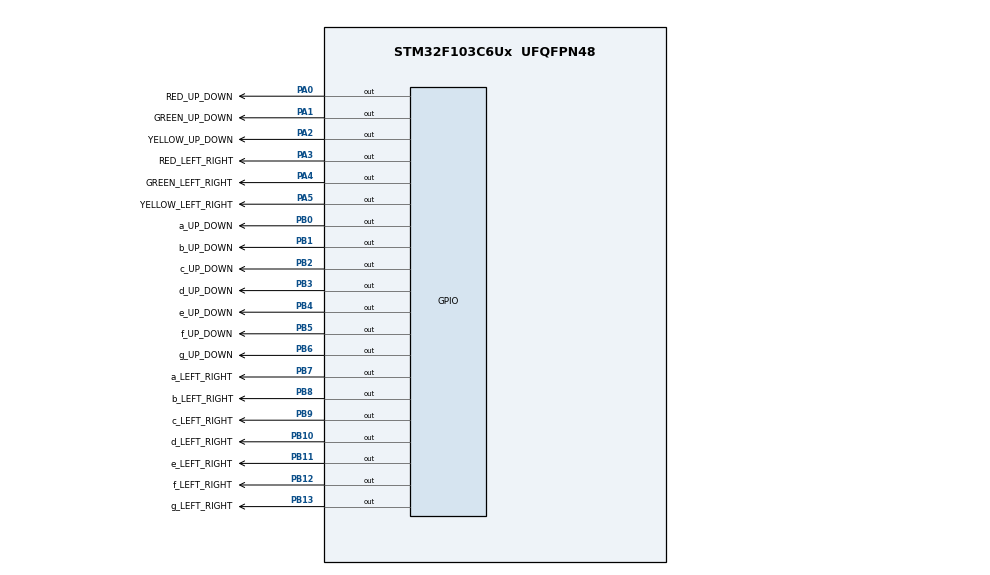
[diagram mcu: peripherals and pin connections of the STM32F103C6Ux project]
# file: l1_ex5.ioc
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Mcu.Family=STM32F1
Mcu.Name=STM32F103C6Ux
Mcu.Package=UFQFPN48
NVIC.PriorityGroup=NVIC_PRIORITYGROUP_4
PA0-WKUP.GPIO_Label=RED_UP_DOWN
PA0-WKUP.PinState=GPIO_PIN_SET
PA0-WKUP.Signal=GPIO_Output
PA1.GPIO_Label=GREEN_UP_DOWN
PA1.PinState=GPIO_PIN_RESET
PA1.Signal=GPIO_Output
PA2.GPIO_Label=YELLOW_UP_DOWN
PA2.PinState=GPIO_PIN_RESET
PA2.Signal=GPIO_Output
PA3.GPIO_Label=RED_LEFT_RIGHT
PA3.PinState=GPIO_PIN_RESET
PA3.Signal=GPIO_Output
PA4.GPIO_Label=GREEN_LEFT_RIGHT
PA4.PinState=GPIO_PIN_SET
PA4.Signal=GPIO_Output
PA5.GPIO_Label=YELLOW_LEFT_RIGHT
PA5.PinState=GPIO_PIN_RESET
PA5.Signal=GPIO_Output
PB0.GPIO_Label=a_UP_DOWN
PB0.PinState=GPIO_PIN_SET
PB0.Signal=GPIO_Output
PB1.GPIO_Label=b_UP_DOWN
PB1.PinState=GPIO_PIN_SET
PB1.Signal=GPIO_Output
PB10.GPIO_Label=d_LEFT_RIGHT
PB10.PinState=GPIO_PIN_SET
PB10.Signal=GPIO_Output
PB11.GPIO_Label=e_LEFT_RIGHT
PB11.PinState=GPIO_PIN_SET
PB11.Signal=GPIO_Output
PB12.GPIO_Label=f_LEFT_RIGHT
PB12.PinState=GPIO_PIN_SET
PB12.Signal=GPIO_Output
PB13.GPIO_Label=g_LEFT_RIGHT
PB13.PinState=GPIO_PIN_SET
PB13.Signal=GPIO_Output
PB2.GPIO_Label=c_UP_DOWN
PB2.PinState=GPIO_PIN_SET
PB2.Signal=GPIO_Output
PB3.GPIO_Label=d_UP_DOWN
PB3.PinState=GPIO_PIN_SET
PB3.Signal=GPIO_Output
PB4.GPIO_Label=e_UP_DOWN
PB4.PinState=GPIO_PIN_SET
PB4.Signal=GPIO_Output
PB5.GPIO_Label=f_UP_DOWN
PB5.PinState=GPIO_PIN_SET
PB5.Signal=GPIO_Output
PB6.GPIO_Label=g_UP_DOWN
PB6.PinState=GPIO_PIN_SET
PB6.Signal=GPIO_Output
PB7.GPIO_Label=a_LEFT_RIGHT
PB7.PinState=GPIO_PIN_SET
PB7.Signal=GPIO_Output
PB8.GPIO_Label=b_LEFT_RIGHT
PB8.PinState=GPIO_PIN_SET
PB8.Signal=GPIO_Output
PB9.GPIO_Label=c_LEFT_RIGHT
PB9.PinState=GPIO_PIN_SET
PB9.Signal=GPIO_Output
ProjectManager.HeapSize=0x200
ProjectManager.StackSize=0x400
ProjectManager.TargetToolchain=STM32CubeIDE
RCC.APB1Freq_Value=8000000
RCC.APB2Freq_Value=8000000
VP_SYS_VS_ND.Mode=No_Debug
board=custom

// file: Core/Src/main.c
/* USER CODE BEGIN Header */
/**
  ******************************************************************************
  * @file           : main.c
  * @brief          : Main program body
  ******************************************************************************
  * @attention
  *
  * <h2><center>&copy; Copyright (c) 2025 STMicroelectronics.
  * All rights reserved.</center></h2>
  *
  * This software component is licensed by ST under BSD 3-Clause license,
  * the "License"; You may not use this file except in compliance with the
  * License. You may obtain a copy of the License at:
  *                        opensource.org/licenses/BSD-3-Clause
  *
  ******************************************************************************
  */
/* USER CODE END Header */
#include "main.h"

void SystemClock_Config(void);
static void MX_GPIO_Init(void);

int main(void)
{

  /* MCU Configuration--------------------------------------------------------*/

  /* Reset of all peripherals, Initializes the Flash interface and the Systick. */
  HAL_Init();

  /* Configure the system clock */
  SystemClock_Config();

  /* Initialize all configured peripherals */
  MX_GPIO_Init();

  /* Infinite loop */
  /* USER CODE BEGIN WHILE */

  // RED 6s -> GREEN 4s -> YELLOW 2s
  // ALL PINs IS ACTIVE HIGH
  // UP and DOWN RED first
  GPIO_TypeDef* SEG_up_down[7] = {a_UP_DOWN_GPIO_Port,b_UP_DOWN_GPIO_Port,c_UP_DOWN_GPIO_Port,
		  d_UP_DOWN_GPIO_Port,e_UP_DOWN_GPIO_Port,
		  f_UP_DOWN_GPIO_Port,g_UP_DOWN_GPIO_Port};
  GPIO_TypeDef* SEG_left_right[7] = {a_LEFT_RIGHT_GPIO_Port,b_LEFT_RIGHT_GPIO_Port,
		  c_LEFT_RIGHT_GPIO_Port,d_LEFT_RIGHT_GPIO_Port
		  ,e_LEFT_RIGHT_GPIO_Port,f_LEFT_RIGHT_GPIO_Port,g_LEFT_RIGHT_GPIO_Port};

  int SEG_up_down_pin[7] = {a_UP_DOWN_Pin,b_UP_DOWN_Pin,c_UP_DOWN_Pin,
		  d_UP_DOWN_Pin,e_UP_DOWN_Pin,
		  f_UP_DOWN_Pin,g_UP_DOWN_Pin};
  int SEG_left_right_pin[7] = {a_LEFT_RIGHT_Pin,b_LEFT_RIGHT_Pin,
		  c_LEFT_RIGHT_Pin,d_LEFT_RIGHT_Pin
		  ,e_LEFT_RIGHT_Pin,f_LEFT_RIGHT_Pin,g_LEFT_RIGHT_Pin};

  void display7SEG(int counter, GPIO_TypeDef* pin[7], int p[7])
  {
	  switch (counter){
	  case 0:
		  HAL_GPIO_WritePin(pin[0], p[0], RESET);
		  HAL_GPIO_WritePin(pin[1], p[1], RESET);
		  HAL_GPIO_WritePin(pin[2], p[2], RESET);
		  HAL_GPIO_WritePin(pin[3], p[3], RESET);
		  HAL_GPIO_WritePin(pin[4], p[4], RESET);
		  HAL_GPIO_WritePin(pin[5], p[5], RESET);
		  HAL_GPIO_WritePin(pin[6], p[6], SET);
		  break;
	  case 1:
		  HAL_GPIO_WritePin(pin[0], p[0], SET);
		  HAL_GPIO_WritePin(pin[1], p[1], RESET);
		  HAL_GPIO_WritePin(pin[2], p[2], RESET);
		  HAL_GPIO_WritePin(pin[3], p[3], SET);
		  HAL_GPIO_WritePin(pin[4], p[4], SET);
		  HAL_GPIO_WritePin(pin[5], p[5], SET);
		  HAL_GPIO_WritePin(pin[6], p[6], SET);
		  break;
	  case 2:
		  HAL_GPIO_WritePin(pin[0], p[0], RESET);
		  HAL_GPIO_WritePin(pin[1], p[1], RESET);
		  HAL_GPIO_WritePin(pin[2], p[2], SET);
		  HAL_GPIO_WritePin(pin[3], p[3], RESET);
		  HAL_GPIO_WritePin(pin[4], p[4], RESET);
		  HAL_GPIO_WritePin(pin[5], p[5], SET);
		  HAL_GPIO_WritePin(pin[6], p[6], RESET);
		  break;
	  case 3:
		  HAL_GPIO_WritePin(pin[0], p[0], RESET);
		  HAL_GPIO_WritePin(pin[1], p[1], RESET);
		  HAL_GPIO_WritePin(pin[2], p[2], RESET);
		  HAL_GPIO_WritePin(pin[3], p[3], RESET);
		  HAL_GPIO_WritePin(pin[4], p[4], SET);
		  HAL_GPIO_WritePin(pin[5], p[5], SET);
		  HAL_GPIO_WritePin(pin[6], p[6], RESET);
		  break;
	  case 4:
		  HAL_GPIO_WritePin(pin[0], p[0], SET);
		  HAL_GPIO_WritePin(pin[1], p[1], RESET);
		  HAL_GPIO_WritePin(pin[2], p[2], RESET);
		  HAL_GPIO_WritePin(pin[3], p[3], SET);
		  HAL_GPIO_WritePin(pin[4], p[4], SET);
		  HAL_GPIO_WritePin(pin[5], p[5], RESET);
		  HAL_GPIO_WritePin(pin[6], p[6], RESET);
		  break;
	  case 5:
		  HAL_GPIO_WritePin(pin[0], p[0], RESET);
		  HAL_GPIO_WritePin(pin[1], p[1], SET);
		  HAL_GPIO_WritePin(pin[2], p[2], RESET);
		  HAL_GPIO_WritePin(pin[3], p[3], RESET);
		  HAL_GPIO_WritePin(pin[4], p[4], SET);
		  HAL_GPIO_WritePin(pin[5], p[5], RESET);
		  HAL_GPIO_WritePin(pin[6], p[6], RESET);
		  break;
	  case 6:
		  HAL_GPIO_WritePin(pin[0], p[0], RESET);
		  HAL_GPIO_WritePin(pin[1], p[1], SET);
		  HAL_GPIO_WritePin(pin[2], p[2], RESET);
		  HAL_GPIO_WritePin(pin[3], p[3], RESET);
		  HAL_GPIO_WritePin(pin[4], p[4], RESET);
		  HAL_GPIO_WritePin(pin[5], p[5], RESET);
		  HAL_GPIO_WritePin(pin[6], p[6], RESET);
		  break;
	  case 7:
		  HAL_GPIO_WritePin(pin[0], p[0], RESET);
		  HAL_GPIO_WritePin(pin[1], p[1], RESET);
		  HAL_GPIO_WritePin(pin[2], p[2], RESET);
		  HAL_GPIO_WritePin(pin[3], p[3], SET);
		  HAL_GPIO_WritePin(pin[4], p[4], SET);
		  HAL_GPIO_WritePin(pin[5], p[5], SET);
		  HAL_GPIO_WritePin(pin[6], p[6], SET);
		  break;
	  case 8:
		  HAL_GPIO_WritePin(pin[0], p[0], RESET);
		  HAL_GPIO_WritePin(pin[1], p[1], RESET);
		  HAL_GPIO_WritePin(pin[2], p[2], RESET);
		  HAL_GPIO_WritePin(pin[3], p[3], RESET);
		  HAL_GPIO_WritePin(pin[4], p[4], RESET);
		  HAL_GPIO_WritePin(pin[5], p[5], RESET);
		  HAL_GPIO_WritePin(pin[6], p[6], RESET);
		  break;
	  case 9:
		  HAL_GPIO_WritePin(pin[0], p[0], RESET);
		  HAL_GPIO_WritePin(pin[1], p[1], RESET);
		  HAL_GPIO_WritePin(pin[2], p[2], RESET);
		  HAL_GPIO_WritePin(pin[3], p[3], RESET);
		  HAL_GPIO_WritePin(pin[4], p[4], SET);
		  HAL_GPIO_WritePin(pin[5], p[5], RESET);
		  HAL_GPIO_WritePin(pin[6], p[6], RESET);
		  break;
	  }
  }

  int ctime = 1200;
  int c_up_down = 6;
  int c_left_right = 4;

  while (1)
  {
	  if(ctime == 800)
	  {
		  HAL_GPIO_WritePin(GREEN_LEFT_RIGHT_GPIO_Port, GREEN_LEFT_RIGHT_Pin, RESET);
		  HAL_GPIO_WritePin(YELLOW_LEFT_RIGHT_GPIO_Port, YELLOW_LEFT_RIGHT_Pin, SET);
		  c_left_right = 2;
	  }
	  if(ctime == 600)
	  {
		  HAL_GPIO_WritePin(RED_LEFT_RIGHT_GPIO_Port, RED_LEFT_RIGHT_Pin, SET);
		  HAL_GPIO_WritePin(YELLOW_LEFT_RIGHT_GPIO_Port, YELLOW_LEFT_RIGHT_Pin, RESET);

		  HAL_GPIO_WritePin(RED_UP_DOWN_GPIO_Port, RED_UP_DOWN_Pin, RESET);
		  HAL_GPIO_WritePin(GREEN_UP_DOWN_GPIO_Port, GREEN_UP_DOWN_Pin, SET);
		  c_left_right = 6;
		  c_up_down = 4;
	  }
	  if(ctime == 200)
	  {
		  HAL_GPIO_WritePin(YELLOW_UP_DOWN_GPIO_Port, YELLOW_UP_DOWN_Pin, SET);
		  HAL_GPIO_WritePin(GREEN_UP_DOWN_GPIO_Port, GREEN_UP_DOWN_Pin, RESET);
		  c_up_down = 2;
	  }
	  if(ctime == 0)
	  {
		  ctime = 1200;
		  HAL_GPIO_WritePin(RED_LEFT_RIGHT_GPIO_Port, RED_LEFT_RIGHT_Pin, RESET);
		  HAL_GPIO_WritePin(GREEN_LEFT_RIGHT_GPIO_Port, GREEN_LEFT_RIGHT_Pin, SET);

		  HAL_GPIO_WritePin(RED_UP_DOWN_GPIO_Port, RED_UP_DOWN_Pin, SET);
		  HAL_GPIO_WritePin(YELLOW_UP_DOWN_GPIO_Port, YELLOW_UP_DOWN_Pin, RESET);
		  c_left_right = 4;
		  c_up_down = 6;
	  }
	  if(ctime%100==0)
	  {
		  display7SEG(c_left_right--, SEG_left_right, SEG_left_right_pin);
		  display7SEG(c_up_down--, SEG_up_down, SEG_up_down_pin);
	  }
	  ctime --;
	  HAL_Delay(10);
    /* USER CODE END WHILE */

  }
}

void SystemClock_Config(void)
{
  RCC_OscInitTypeDef RCC_OscInitStruct = {0};
  RCC_ClkInitTypeDef RCC_ClkInitStruct = {0};

  /** Initializes the RCC Oscillators according to the specified parameters
  * in the RCC_OscInitTypeDef structure.
  */
  RCC_OscInitStruct.OscillatorType = RCC_OSCILLATORTYPE_HSI;
  RCC_OscInitStruct.HSIState = RCC_HSI_ON;
  RCC_OscInitStruct.HSICalibrationValue = RCC_HSICALIBRATION_DEFAULT;
  RCC_OscInitStruct.PLL.PLLState = RCC_PLL_NONE;
  if (HAL_RCC_OscConfig(&RCC_OscInitStruct) != HAL_OK)
  {
    Error_Handler();
  }
  /** Initializes the CPU, AHB and APB buses clocks
  */
  RCC_ClkInitStruct.ClockType = RCC_CLOCKTYPE_HCLK|RCC_CLOCKTYPE_SYSCLK
                              |RCC_CLOCKTYPE_PCLK1|RCC_CLOCKTYPE_PCLK2;
  RCC_ClkInitStruct.SYSCLKSource = RCC_SYSCLKSOURCE_HSI;
  RCC_ClkInitStruct.AHBCLKDivider = RCC_SYSCLK_DIV1;
  RCC_ClkInitStruct.APB1CLKDivider = RCC_HCLK_DIV1;
  RCC_ClkInitStruct.APB2CLKDivider = RCC_HCLK_DIV1;

  if (HAL_RCC_ClockConfig(&RCC_ClkInitStruct, FLASH_LATENCY_0) != HAL_OK)
  {
    Error_Handler();
  }
}

static void MX_GPIO_Init(void)
{
  GPIO_InitTypeDef GPIO_InitStruct = {0};

  /* GPIO Ports Clock Enable */
  __HAL_RCC_GPIOA_CLK_ENABLE();
  __HAL_RCC_GPIOB_CLK_ENABLE();

  /*Configure GPIO pin Output Level */
  HAL_GPIO_WritePin(GPIOA, RED_UP_DOWN_Pin|GREEN_LEFT_RIGHT_Pin, GPIO_PIN_SET);

  /*Configure GPIO pin Output Level */
  HAL_GPIO_WritePin(GPIOA, GREEN_UP_DOWN_Pin|YELLOW_UP_DOWN_Pin|RED_LEFT_RIGHT_Pin|YELLOW_LEFT_RIGHT_Pin, GPIO_PIN_RESET);

  /*Configure GPIO pin Output Level */
  HAL_GPIO_WritePin(GPIOB, a_UP_DOWN_Pin|b_UP_DOWN_Pin|c_UP_DOWN_Pin|d_LEFT_RIGHT_Pin
                          |e_LEFT_RIGHT_Pin|f_LEFT_RIGHT_Pin|g_LEFT_RIGHT_Pin|d_UP_DOWN_Pin
                          |e_UP_DOWN_Pin|f_UP_DOWN_Pin|g_UP_DOWN_Pin|a_LEFT_RIGHT_Pin
                          |b_LEFT_RIGHT_Pin|c_LEFT_RIGHT_Pin, GPIO_PIN_SET);

  /*Configure GPIO pins : RED_UP_DOWN_Pin GREEN_UP_DOWN_Pin YELLOW_UP_DOWN_Pin RED_LEFT_RIGHT_Pin
                           GREEN_LEFT_RIGHT_Pin YELLOW_LEFT_RIGHT_Pin */
  GPIO_InitStruct.Pin = RED_UP_DOWN_Pin|GREEN_UP_DOWN_Pin|YELLOW_UP_DOWN_Pin|RED_LEFT_RIGHT_Pin
                          |GREEN_LEFT_RIGHT_Pin|YELLOW_LEFT_RIGHT_Pin;
  GPIO_InitStruct.Mode = GPIO_MODE_OUTPUT_PP;
  GPIO_InitStruct.Pull = GPIO_NOPULL;
  GPIO_InitStruct.Speed = GPIO_SPEED_FREQ_LOW;
  HAL_GPIO_Init(GPIOA, &GPIO_InitStruct);

  /*Configure GPIO pins : a_UP_DOWN_Pin b_UP_DOWN_Pin c_UP_DOWN_Pin d_LEFT_RIGHT_Pin
                           e_LEFT_RIGHT_Pin f_LEFT_RIGHT_Pin g_LEFT_RIGHT_Pin d_UP_DOWN_Pin
                           e_UP_DOWN_Pin f_UP_DOWN_Pin g_UP_DOWN_Pin a_LEFT_RIGHT_Pin
                           b_LEFT_RIGHT_Pin c_LEFT_RIGHT_Pin */
  GPIO_InitStruct.Pin = a_UP_DOWN_Pin|b_UP_DOWN_Pin|c_UP_DOWN_Pin|d_LEFT_RIGHT_Pin
                          |e_LEFT_RIGHT_Pin|f_LEFT_RIGHT_Pin|g_LEFT_RIGHT_Pin|d_UP_DOWN_Pin
                          |e_UP_DOWN_Pin|f_UP_DOWN_Pin|g_UP_DOWN_Pin|a_LEFT_RIGHT_Pin
                          |b_LEFT_RIGHT_Pin|c_LEFT_RIGHT_Pin;
  GPIO_InitStruct.Mode = GPIO_MODE_OUTPUT_PP;
  GPIO_InitStruct.Pull = GPIO_NOPULL;
  GPIO_InitStruct.Speed = GPIO_SPEED_FREQ_LOW;
  HAL_GPIO_Init(GPIOB, &GPIO_InitStruct);

}

void Error_Handler(void)
{
  __disable_irq();
  while (1)
  {
  }
}

/************************ (C) COPYRIGHT STMicroelectronics *****END OF FILE****/
